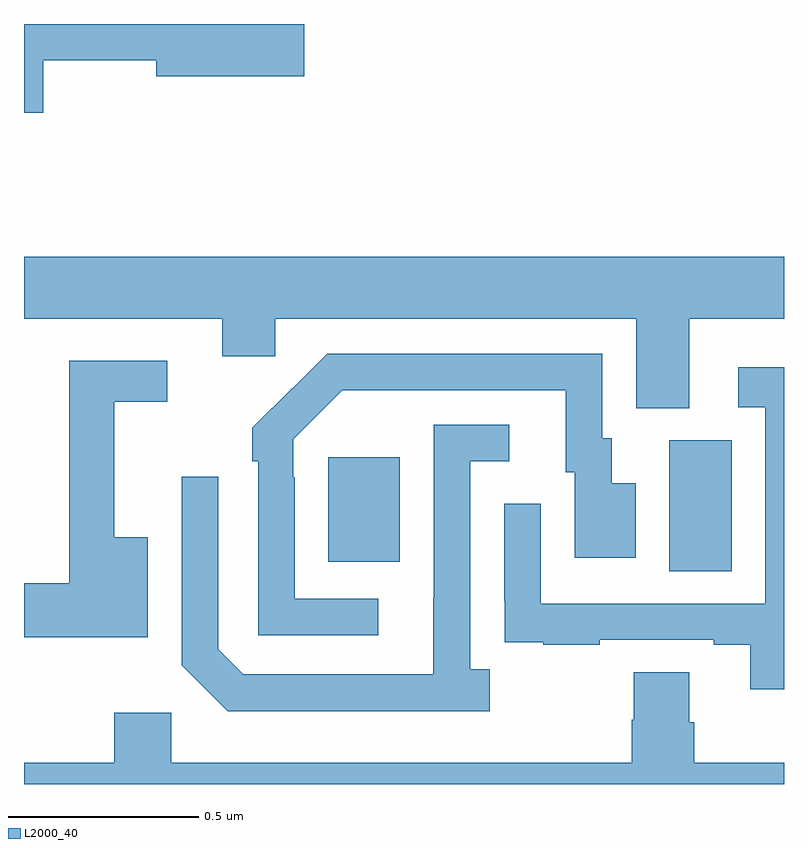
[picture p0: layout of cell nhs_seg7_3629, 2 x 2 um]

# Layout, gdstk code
import gdstk
lib = gdstk.Library(unit=1e-6, precision=1e-09)
def R(c, l, rs):  # rectangles x0, y0, x1, y1
    for r in rs: c.add(gdstk.rectangle(r[:2], r[2:], *l))
def P(c, l, *ps):  # polygons
    for p in ps: c.add(gdstk.Polygon(p, *l))
L2000_40 = (2000, 40)

nhs_seg7_3629 = lib.new_cell('nhs_seg7_3629')
R(nhs_seg7_3629, L2000_40, [(162.698,1058.56,162.862,1058.904), (161.801,1058.585,161.989,1058.86)])
P(nhs_seg7_3629, L2000_40, [(161.05,1059.904),(161.348,1059.904),(161.348,1059.862),(161.737,1059.862),(161.737,1060),(161,1060),(161,1059.767),(161.05,1059.767)],
  [(162.751,1059.224),(163,1059.224),(163,1059.388),(161,1059.388),(161,1059.224),(161.522,1059.224),(161.522,1059.126),(161.661,1059.126),(161.661,1059.224),(162.611,1059.224),(162.611,1058.989),(162.751,1058.989)],
  [(161.932,1058.487),(161.712,1058.487),(161.712,1058.807),(161.709,1058.807),(161.709,1058.907),(161.838,1059.036),(162.425,1059.036),(162.425,1058.82),(162.449,1058.82),(162.449,1058.595),(162.61,1058.595),(162.61,1058.791),(162.547,1058.791),(162.547,1058.91),(162.522,1058.91),(162.522,1059.132),(161.798,1059.132),(161.707,1059.041),(161.706,1059.042),(161.601,1058.937),(161.601,1058.849),(161.616,1058.849),(161.616,1058.391),(161.932,1058.391)],
  [(161.326,1058.65),(161.237,1058.65),(161.237,1059.006),(161.377,1059.006),(161.377,1059.114),(161.119,1059.114),(161.119,1058.528),(161,1058.528),(161,1058.386),(161.326,1058.386)],
  [(163,1059.097),(162.879,1059.097),(162.879,1058.991),(162.951,1058.991),(162.951,1058.475),(162.36,1058.475),(162.36,1058.737),(162.264,1058.737),(162.264,1058.482),(162.265,1058.482),(162.265,1058.373),(162.367,1058.373),(162.367,1058.367),(162.515,1058.367),(162.515,1058.379),(162.815,1058.379),(162.815,1058.367),(162.911,1058.367),(162.911,1058.25),(163,1058.25)],
  [(162.226,1058.302),(162.174,1058.302),(162.174,1058.85),(162.277,1058.85),(162.277,1058.946),(162.078,1058.946),(162.078,1058.489),(162.077,1058.489),(162.077,1058.289),(161.577,1058.289),(161.511,1058.355),(161.511,1058.809),(161.415,1058.809),(161.415,1058.313),(161.536,1058.192),(162.226,1058.192)],
  [(163,1058.056),(162.764,1058.056),(162.764,1058.162),(162.751,1058.162),(162.751,1058.294),(162.604,1058.294),(162.604,1058.169),(162.599,1058.169),(162.599,1058.056),(161.388,1058.056),(161.388,1058.188),(161.237,1058.188),(161.237,1058.056),(161,1058.056),(161,1058),(163,1058)])

lib.write_gds('nhs_seg7_3629.gds')
